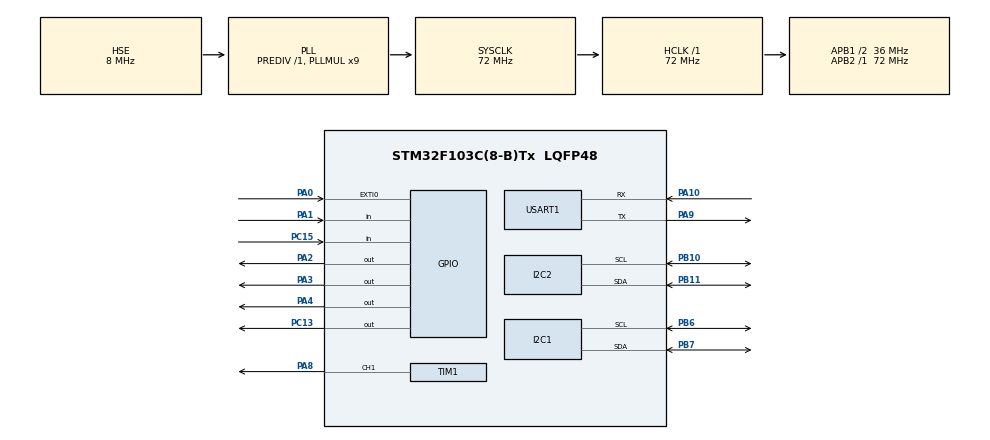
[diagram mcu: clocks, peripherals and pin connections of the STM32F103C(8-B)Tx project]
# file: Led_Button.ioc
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Dma.Request0=USART1_RX
Dma.Request1=USART1_TX
Dma.USART1_RX.0.Direction=DMA_PERIPH_TO_MEMORY
Dma.USART1_RX.0.Instance=DMA1_Channel5
Dma.USART1_RX.0.MemDataAlignment=DMA_MDATAALIGN_BYTE
Dma.USART1_RX.0.MemInc=DMA_MINC_ENABLE
Dma.USART1_RX.0.Mode=DMA_NORMAL
Dma.USART1_RX.0.PeriphDataAlignment=DMA_PDATAALIGN_BYTE
Dma.USART1_RX.0.PeriphInc=DMA_PINC_DISABLE
Dma.USART1_RX.0.Priority=DMA_PRIORITY_LOW
Dma.USART1_TX.1.Direction=DMA_MEMORY_TO_PERIPH
Dma.USART1_TX.1.Instance=DMA1_Channel4
Dma.USART1_TX.1.MemDataAlignment=DMA_MDATAALIGN_BYTE
Dma.USART1_TX.1.MemInc=DMA_MINC_ENABLE
Dma.USART1_TX.1.Mode=DMA_CIRCULAR
Dma.USART1_TX.1.PeriphDataAlignment=DMA_PDATAALIGN_BYTE
Dma.USART1_TX.1.PeriphInc=DMA_PINC_DISABLE
Dma.USART1_TX.1.Priority=DMA_PRIORITY_LOW
I2C1.I2C_Mode=I2C_Fast
I2C2.I2C_Mode=I2C_Fast
Mcu.Family=STM32F1
Mcu.Name=STM32F103C(8-B)Tx
Mcu.Package=LQFP48
NVIC.DMA1_Channel4_IRQn=true\:0\:0\:false\:false\:true\:false\:true\:true
NVIC.DMA1_Channel5_IRQn=true\:0\:0\:false\:false\:true\:false\:true\:true
NVIC.EXTI0_IRQn=true\:0\:0\:false\:false\:true\:true\:true\:true
NVIC.PriorityGroup=NVIC_PRIORITYGROUP_4
NVIC.TIM2_IRQn=true\:0\:0\:false\:false\:true\:true\:true\:true
NVIC.TIM3_IRQn=true\:0\:0\:false\:false\:true\:true\:true\:true
NVIC.USART1_IRQn=true\:0\:0\:false\:false\:true\:true\:true\:true
PA0-WKUP.GPIO_ModeDefaultEXTI=GPIO_MODE_IT_FALLING
PA0-WKUP.Signal=GPXTI0
PA1.Signal=GPIO_Input
PA10.Mode=Asynchronous
PA10.Signal=USART1_RX
PA13.Mode=Serial_Wire
PA13.Signal=SYS_JTMS-SWDIO
PA14.Mode=Serial_Wire
PA14.Signal=SYS_JTCK-SWCLK
PA2.Signal=GPIO_Output
PA3.Signal=GPIO_Output
PA4.GPIO_PuPd=GPIO_PULLUP
PA4.Signal=GPIO_Output
PA8.Signal=S_TIM1_CH1
PA9.Mode=Asynchronous
PA9.Signal=USART1_TX
PB10.Mode=I2C
PB10.Signal=I2C2_SCL
PB11.Mode=I2C
PB11.Signal=I2C2_SDA
PB6.Mode=I2C
PB6.Signal=I2C1_SCL
PB7.Mode=I2C
PB7.Signal=I2C1_SDA
PC13-TAMPER-RTC.Signal=GPIO_Output
PC15-OSC32_OUT.GPIO_PuPd=GPIO_PULLUP
PC15-OSC32_OUT.Signal=GPIO_Input
PD0-OSC_IN.Mode=HSE-External-Oscillator
PD0-OSC_IN.Signal=RCC_OSC_IN
PD1-OSC_OUT.Mode=HSE-External-Oscillator
PD1-OSC_OUT.Signal=RCC_OSC_OUT
ProjectManager.HeapSize=0x200
ProjectManager.StackSize=0x400
ProjectManager.TargetToolchain=MDK-ARM V5
RCC.AHBFreq_Value=72000000
RCC.APB1CLKDivider=RCC_HCLK_DIV2
RCC.APB1Freq_Value=36000000
RCC.APB1TimFreq_Value=72000000
RCC.APB2Freq_Value=72000000
RCC.APB2TimFreq_Value=72000000
RCC.HCLKFreq_Value=72000000
RCC.PLLMUL=RCC_PLL_MUL9
RCC.PLLSourceVirtual=RCC_PLLSOURCE_HSE
RCC.SYSCLKFreq_VALUE=72000000
RCC.SYSCLKSource=RCC_SYSCLKSOURCE_PLLCLK
RCC.USBFreq_Value=72000000
SH.S_TIM1_CH1.0=TIM1_CH1,PWM Generation1 CH1
TIM1.Channel-PWM\ Generation1\ CH1=TIM_CHANNEL_1
TIM2.Period=10000-1
TIM2.Prescaler=72-1
TIM3.Period=60000-1
TIM3.Prescaler=6000-1
USART1.VirtualMode=VM_ASYNC
VP_TIM1_VS_ClockSourceINT.Mode=Internal
VP_TIM2_VS_ClockSourceINT.Mode=Internal
VP_TIM3_VS_ClockSourceINT.Mode=Internal
board=custom

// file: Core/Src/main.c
/* USER CODE BEGIN Header */
/**
  ******************************************************************************
  * @file           : main.c
  * @brief          : Main program body
  ******************************************************************************
  * @attention
  *
  * Copyright (c) 2025 STMicroelectronics.
  * All rights reserved.
  *
  * This software is licensed under terms that can be found in the LICENSE file
  * in the root directory of this software component.
  * If no LICENSE file comes with this software, it is provided AS-IS.
  *
  ******************************************************************************
  */
/* USER CODE END Header */
#include "main.h"

I2C_HandleTypeDef hi2c1;
I2C_HandleTypeDef hi2c2;

TIM_HandleTypeDef htim1;
TIM_HandleTypeDef htim2;
TIM_HandleTypeDef htim3;

UART_HandleTypeDef huart1;
DMA_HandleTypeDef hdma_usart1_rx;
DMA_HandleTypeDef hdma_usart1_tx;

void SystemClock_Config(void);
static void MX_GPIO_Init(void);
static void MX_DMA_Init(void);
static void MX_USART1_UART_Init(void);
static void MX_TIM1_Init(void);
static void MX_TIM2_Init(void);
static void MX_TIM3_Init(void);
static void MX_I2C2_Init(void);
static void MX_I2C1_Init(void);
/* USER CODE BEGIN PFP */
//=============INCLUDE LIBRARY=============//
#include <string.h>
#include <stdio.h>
#include <math.h>
#include <stdlib.h>

//=============DEFINE VARIABLE=============//
#define MCP4725_ADDR (0x60 << 1)

uint8_t RX_Data[17], TX_Data[29], Leech_Motor_Speed [3], LED_Status_Buffer [2], Each_Eeprom_Element[1];
uint8_t UART1_RX_Flag, LED_1_Status_Flag, LED_2_Status_Flag, LED_Status_Tracking_Flag, Store_LED_Status_Flag, Timer3_Delay_Flag, Store_Motor_Speed_Flag, Recover_Data_Flag;
uint8_t Forward_45D_Flag, Forward_90D_Flag, Forward_180D_Flag, Forward_360D_Flag, Motor_Position_Tracking_Flag, Control_Motor_Speed_Flag;
uint8_t Mode_00_Flag, Mode_01_Flag, Mode_02_Flag, Mode_03_Flag, Mode_04_Flag, Mode_05_Flag, Mode_06_Flag;

char *Char_RX_Data, Down_Line[] = "\r \n", RX_Hex_Data[29];
char Pulse_Buffer[13], Label_LED_Status_Buffer[13];

int pre_pulse, pulse, PWM_Duty_Cycle, Label_LED_Status;
int count, i;
int Iden_Control_Motor;

float setpoint = 0, Output_Voltage_Setpoint;
float pre_error, error;
float integral, derivative, duty_cycle_output;
float Kp = 10, Ki = 0.5, Kd = 0.2;
float Delta_t = 0.01;

/* USER CODE END PFP */

/* USER CODE BEGIN 0 */

//=======================================EEPROM=========================================//
//======================================================================================//
//======================================================================================//

void Recover_Data ()
{
	Recover_Data_Flag = 1;

	for(int i = 0, j = 0; i <= 2; i++)
	{
		HAL_I2C_Mem_Read(&hi2c1, 0xA0, i, 2, Each_Eeprom_Element, 1, 100);
		LED_Status_Buffer[j] = Each_Eeprom_Element[0];
		j++;
	}

	if (LED_Status_Buffer[0] == 0)
	{
		HAL_GPIO_WritePin(GPIOC, GPIO_PIN_13, 1);

		Label_LED_Status = 1000;
		int len = sprintf(Label_LED_Status_Buffer, "%d\r\n", Label_LED_Status);
		HAL_UART_Transmit (&huart1, (uint8_t *)Label_LED_Status_Buffer, len, HAL_MAX_DELAY);
	}
	else if (LED_Status_Buffer[0] == 1)
	{
		HAL_GPIO_WritePin(GPIOC, GPIO_PIN_13, 0);

		Label_LED_Status = 1001;
		int len = sprintf(Label_LED_Status_Buffer, "%d\r\n", Label_LED_Status);
		HAL_UART_Transmit (&huart1, (uint8_t *)Label_LED_Status_Buffer, len, HAL_MAX_DELAY);
	}

	if (LED_Status_Buffer[1] == 0)
	{
		HAL_GPIO_WritePin(GPIOA, GPIO_PIN_4, 0);

		Label_LED_Status = 1010;
		int len = sprintf(Label_LED_Status_Buffer, "%d\r\n", Label_LED_Status);
		HAL_UART_Transmit (&huart1, (uint8_t *)Label_LED_Status_Buffer, len, HAL_MAX_DELAY);
	}
	else if (LED_Status_Buffer[1] == 1)
	{
		HAL_GPIO_WritePin(GPIOA, GPIO_PIN_4, 1);

		Label_LED_Status = 1011;
		int len = sprintf(Label_LED_Status_Buffer, "%d\r\n", Label_LED_Status);
		HAL_UART_Transmit (&huart1, (uint8_t *)Label_LED_Status_Buffer, len, HAL_MAX_DELAY);
	}
}

//========================================DAC===========================================//
//======================================================================================//
//======================================================================================//

void MCP4725_SetVoltage(int Output_Voltage_Setpoint)
{
	uint8_t Output_Voltage_Buffer[3];

  Output_Voltage_Buffer[0] = 0x40;
  Output_Voltage_Buffer[1] = (Output_Voltage_Setpoint>> 4) & 0xFF;
  Output_Voltage_Buffer[2] = (Output_Voltage_Setpoint& 0x0F) << 4;

  HAL_I2C_Master_Transmit(&hi2c2, MCP4725_ADDR, Output_Voltage_Buffer, 3, HAL_MAX_DELAY);
}

void Change_Output_Voltage ()
{
	if (strncmp(Char_RX_Data, "00060000011", sizeof(RX_Data)) == 0)
	{
		Mode_06_Flag = 0;
	}

	Output_Voltage_Setpoint = (RX_Data[6] - '0') + (RX_Data[7] - '0') / 10.0;
	MCP4725_SetVoltage ((Output_Voltage_Setpoint * 4095) / 3);
}

//========================LED STATUS & MOTOR POSITION TRACKING==========================//
//======================================================================================//
//======================================================================================//

void Active_Inactive_Status_Tracking ()
{
	Timer3_Delay_Flag = 0;
	count ++;

	if (count == 1)
	{
		setpoint = 0;
	}

	if (count == 2)
	{
		setpoint = 50;
	}

	if (count == 3)
	{
		setpoint = 100;
	}

	if (count == 4)
	{
		setpoint = 150;
		count = 0;
	}
}

//=====================================DRAW GRAPH=======================================//
//======================================================================================//
//======================================================================================//

void Pulse_Transmit_Via_Com ()
{
	int len = sprintf(Pulse_Buffer, "%d\r\n",pulse);
	HAL_UART_Transmit (&huart1, (uint8_t *)Pulse_Buffer, len, HAL_MAX_DELAY);
	HAL_Delay(5);
}

//====================================CONTROL MOTOR=====================================//
//======================================================================================//
//======================================================================================//

//=============CHANGE MOTOR POSITION=============//
void Change_Motor_Position ()
{
	Mode_01_Flag = 0;

	if (Iden_Control_Motor % 2 == 1)
	{
		//FORWARD 45 DEG//
		if (Forward_45D_Flag == 1)
		{
			setpoint = 224/8;
			Kp = 10;
			Ki = 0.5;
			Kd = 0.1;

			Forward_45D_Flag = 0;
		}

		//FORWARD 90 DEG//
		if (Forward_90D_Flag == 1)
		{
			setpoint = 224/4;
			Kp = 10;
			Ki = 0.5;
			Kd = 0.1;

			Forward_90D_Flag = 0;
}

		//FORWARD 180 DEG//
		if (Forward_180D_Flag == 1)
		{
			setpoint = 224/2;
			Kp = 20;
			Ki = 0.5;
			Kd = 0.1;

			Forward_180D_Flag = 0;
		}

		//FORWARD 360 DEG//
		if (Forward_360D_Flag == 1)
		{
			setpoint = 224/1;
			Kp = 8;
			Ki = 6;
			Kd = 0.4;

			Forward_360D_Flag = 0;
		}
	}
}

//=============GENERATE PWM SIGNAL BY TIMER 1=============//

void Generate_PWM (TIM_HandleTypeDef *htim, uint32_t Channel, float Duty_Cycle)
{
	Duty_Cycle = Duty_Cycle / 100 * htim->Instance->ARR;
	__HAL_TIM_SET_COMPARE(&htim1, Channel, (uint16_t)Duty_Cycle);
}

//=============CONTROL POSITION=============//

void Control_Forward ()
{
	HAL_GPIO_WritePin(GPIOA, GPIO_PIN_2, 0);
	HAL_GPIO_WritePin(GPIOA, GPIO_PIN_3, 1);
	HAL_GPIO_WritePin(GPIOA, GPIO_PIN_8, 1);
}

void Control_Reverse ()
{
	HAL_GPIO_WritePin(GPIOA, GPIO_PIN_2, 1);
	HAL_GPIO_WritePin(GPIOA, GPIO_PIN_3, 0);
	HAL_GPIO_WritePin(GPIOA, GPIO_PIN_8, 1);
}

void Control_Stop ()
{
	HAL_GPIO_WritePin(GPIOA, GPIO_PIN_2, 0);
	HAL_GPIO_WritePin(GPIOA, GPIO_PIN_3, 0);
	HAL_GPIO_WritePin(GPIOA, GPIO_PIN_8, 0);
}

void Control_Position ()
{
	if (duty_cycle_output > 0)
	{
		Control_Forward();
		Generate_PWM(&htim1, TIM_CHANNEL_1, duty_cycle_output);
	}

	if (duty_cycle_output < 0)
	{
		Control_Reverse();
		Generate_PWM(&htim1, TIM_CHANNEL_1, - duty_cycle_output);
	}

	if (duty_cycle_output == 0)
	{
		Control_Stop();
		Generate_PWM(&htim1, TIM_CHANNEL_1, duty_cycle_output);
	}
}

//=============CONTROL MOTOR SPEED=============//

void Control_Motor_Speed ()
{
	Mode_04_Flag = 0;

	if (Control_Motor_Speed_Flag == 1)
	{
		HAL_TIM_Base_Stop_IT (&htim2);	//Disable encoder timer2 response interupt avoid PID conflict
		memcpy(Leech_Motor_Speed, &RX_Data[5], 3);
		HAL_TIM_PWM_Start(&htim1,TIM_CHANNEL_1);

		Control_Forward ();
		PWM_Duty_Cycle = atoi((char*)Leech_Motor_Speed);
		Generate_PWM (&htim1, TIM_CHANNEL_1, PWM_Duty_Cycle);
	}
	else if (Control_Motor_Speed_Flag == 0)
	{
		HAL_TIM_Base_Start_IT (&htim2);
		Generate_PWM (&htim1, TIM_CHANNEL_1, 0);
		pulse = 0;
	}
}

//=============ENCODER PULSE COUNTING=============//

void HAL_GPIO_EXTI_Callback(uint16_t GPIO_Pin)
{
	if (HAL_GPIO_ReadPin(GPIOA, GPIO_PIN_1) == 0)
	{
		pulse++;
	}
	else
	{
		pulse--;
	}
}

//=============PID CACULATION & ACTIVE TIMER INTERUPT=============//

void HAL_TIM_PeriodElapsedCallback(TIM_HandleTypeDef *htim)
{
	if (htim == &htim2)
	{
		error = setpoint - pulse;
		integral = integral + (error * Delta_t);
		derivative = (error - pre_error) / Delta_t;
		duty_cycle_output = 	(Kp * error) + (Ki * integral);

		if (duty_cycle_output > 100)
		{
			duty_cycle_output = 100;
		}

		if (duty_cycle_output < -100)
		{
			duty_cycle_output = -100;
		}

		pre_error = error;

		Control_Position();
	}

	if (htim == &htim3)
	{
		Timer3_Delay_Flag = 1;
	}
}

//=================================UART COMMUNICATTION==================================//
//======================================================================================//
//======================================================================================//

//=============UART RECEIVE CHECKING=============//

void HAL_UARTEx_RxEventCallback (UART_HandleTypeDef *huart, uint16_t Size)
{
	if (huart->Instance == USART1)
	{
			UART1_RX_Flag = 1;
	}
}

//=============UART RECEIVE PROCESSING=============//

void UART1_RX_Processing ()
{
	UART1_RX_Flag = 0;

	HAL_UARTEx_ReceiveToIdle_DMA (&huart1, RX_Data, sizeof(RX_Data));

	Char_RX_Data = (char*)RX_Data;

	//MODE 00 - CONTROL LED//
	if ((strncmp(Char_RX_Data, "0000", 4) == 0) && (strncmp(&Char_RX_Data[9], "1", 1) == 0))
	{
		Mode_00_Flag = 1;

		if (strncmp(Char_RX_Data, "00000000011", sizeof(RX_Data)) == 0)
		{
			LED_1_Status_Flag = 0;
		}
		else if (strncmp(Char_RX_Data, "00000001011", sizeof(RX_Data)) == 0)
		{
			LED_1_Status_Flag = 1;
		}

		if (strncmp(Char_RX_Data, "00000010011", sizeof(RX_Data)) == 0)
		{
			LED_2_Status_Flag = 0;
		}
		else if (strncmp(Char_RX_Data, "00000011011", sizeof(RX_Data)) == 0)
		{
			LED_2_Status_Flag = 1;
		}
	}

	//MODE 01 - CONTROL MOTOR POSITION//
	if ((strncmp(Char_RX_Data, "0001", 4) == 0) && (strncmp(&Char_RX_Data[9], "1", 1) == 0))
	{
		Mode_01_Flag = 1;

		if (strncmp(Char_RX_Data, "0001002D011", sizeof(RX_Data)) == 0)
		{
			Forward_45D_Flag = 1;
		}

		if (strncmp(Char_RX_Data, "0001005A011", sizeof(RX_Data)) == 0)
		{
			Forward_90D_Flag = 1;
		}

		if (strncmp(Char_RX_Data, "000100B4011", sizeof(RX_Data)) == 0)
		{
			Forward_180D_Flag = 1;
		}

		if (strncmp(Char_RX_Data, "00010168011", sizeof(RX_Data)) == 0)
		{
			Forward_360D_Flag = 1;
		}
	}

	//MODE 02 - ACTIVE/INACTIVE PULSE TRANSFERING//
	if ((strncmp(Char_RX_Data, "0002", 4) == 0) && (strncmp(&Char_RX_Data[9], "1", 1) == 0))
	{
		if (strncmp(Char_RX_Data, "00020000011", sizeof(RX_Data)) == 0)
		{
			Mode_02_Flag = 0;
		}

		if (strncmp(Char_RX_Data, "00020001011", sizeof(RX_Data)) == 0)
		{
			Mode_02_Flag = 1;
		}
	}

	//MODE 03 - ACTIVE/INACTIVE STATUS TRACKING//
	if ((strncmp(Char_RX_Data, "0003", 4) == 0) && (strncmp(&Char_RX_Data[9], "1", 1) == 0))
	{
		Mode_03_Flag = 1;

		if (strncmp(Char_RX_Data, "00030000011", sizeof(RX_Data)) == 0)
		{
			LED_Status_Tracking_Flag = 0;
		}

		else if (strncmp(Char_RX_Data, "00030001011", sizeof(RX_Data)) == 0)
		{
			LED_Status_Tracking_Flag = 1;
		}

		if (strncmp(Char_RX_Data, "00030010011", sizeof(RX_Data)) == 0)
		{
			Motor_Position_Tracking_Flag = 0;
		}

		else if (strncmp(Char_RX_Data, "00030011011", sizeof(RX_Data)) == 0)
		{
			Motor_Position_Tracking_Flag = 1;
		}
	}

	//MODE 04 - CONTROL MOTOR SPEED//
	if ((strncmp(Char_RX_Data, "0004", 4) == 0) && (strncmp(&Char_RX_Data[9], "1", 1) == 0))
	{
		Mode_04_Flag = 1;

		if (memcmp(&Char_RX_Data[4], "0", 1) == 0)
		{
			Control_Motor_Speed_Flag = 1;
		}
		else if (memcmp(&Char_RX_Data[4], "FFFF", 4) == 0)
		{
			Control_Motor_Speed_Flag = 0;
		}
	}

	//MODE 05 - STORE LED STATUS & MOTOR SPEED//
	if ((strncmp(Char_RX_Data, "0005", 4) == 0) && (strncmp(&Char_RX_Data[9], "1", 1) == 0))
	{
		Mode_05_Flag = 1;

		if (strncmp(Char_RX_Data, "00050001011", sizeof(RX_Data)) == 0)
		{
			Store_LED_Status_Flag = 1;
		}

		if (strncmp(Char_RX_Data, "00050011011", sizeof(RX_Data)) == 0)
		{
			Store_Motor_Speed_Flag = 1;
		}
	}
	//MODE 06 - DAC//
	if ((strncmp(Char_RX_Data, "0006", 4) == 0) && (strncmp(&Char_RX_Data[9], "1", 1) == 0))
	{
		if (memcmp(&Char_RX_Data[4], "00", 2) == 0)
		{
			Mode_06_Flag = 1;
		}
	}
}

//=============EEPROM PROCESSING=============//

void EEPROM_Processing ()
{
	Mode_05_Flag = 0;

	if (Store_LED_Status_Flag == 1)
	{
		for(int i = 0; i <= 2; i++)
	{
		HAL_I2C_Mem_Write(&hi2c1, 0xA0, i, 2, &LED_Status_Buffer[i], 1, 100);
		HAL_Delay(5);
	}
	}
}

//=====================================CONTROL LED======================================//
//======================================================================================//
//======================================================================================//

void LED_Control ()
{
	Mode_00_Flag = 0;

	if (LED_1_Status_Flag == 0)
	{
		HAL_GPIO_WritePin(GPIOC, GPIO_PIN_13, 1);
		LED_Status_Buffer [0] = 0;
	}
	else if (LED_1_Status_Flag == 1)
	{
		HAL_GPIO_WritePin(GPIOC, GPIO_PIN_13, 0);
		LED_Status_Buffer [0] = 1;
	}

	if (LED_2_Status_Flag == 0)
	{
		HAL_GPIO_WritePin(GPIOA, GPIO_PIN_4, 0);
		LED_Status_Buffer [1] = 0;
	}
	else if (LED_2_Status_Flag == 1)
	{
		HAL_GPIO_WritePin(GPIOA, GPIO_PIN_4, 1);
		LED_Status_Buffer [1] = 1;
	}
}

/* USER CODE END 0 */

int main(void)
{

  /* MCU Configuration--------------------------------------------------------*/

  /* Reset of all peripherals, Initializes the Flash interface and the Systick. */
  HAL_Init();

  /* Configure the system clock */
  SystemClock_Config();

  /* Initialize all configured peripherals */
  MX_GPIO_Init();
  MX_DMA_Init();
  MX_USART1_UART_Init();
  MX_TIM1_Init();
  MX_TIM2_Init();
  MX_TIM3_Init();
  MX_I2C2_Init();
  MX_I2C1_Init();
  /* USER CODE BEGIN 2 */
	//=============ACTIVE UART RECEIVING WITH IDLE AND DMA MODE=============//
	HAL_UARTEx_ReceiveToIdle_DMA (&huart1, RX_Data, sizeof(RX_Data));

	//=============ACTIVE PWM MODE VIA TIMER=============//
	HAL_TIM_PWM_Start (&htim1, TIM_CHANNEL_1);

	//=============ACTIVE TIMER INTERUPT=============//
	HAL_TIM_Base_Start_IT (&htim2);
	HAL_TIM_Base_Start_IT (&htim3);

	//HAL_TIM_Base_Start_IT(&htim1);

  /* USER CODE END 2 */

  /* Infinite loop */
  /* USER CODE BEGIN WHILE */

  while (1)
  {
		uint8_t Opto_Digital_Input = HAL_GPIO_ReadPin (GPIOC, GPIO_PIN_15);
    /* USER CODE END WHILE */

    /* USER CODE BEGIN 3 */
		if (UART1_RX_Flag == 1)
		{
			UART1_RX_Flag = 0;
			UART1_RX_Processing ();
		}

		if (Mode_00_Flag == 1)
		{
			LED_Control ();
		}

		if (Mode_01_Flag == 1)
		{
			Iden_Control_Motor++;
			Change_Motor_Position ();
		}

		if (Mode_02_Flag == 1)
		{
			Pulse_Transmit_Via_Com ();
		}

		if ((Mode_03_Flag == 1) && (Timer3_Delay_Flag == 1))
		{
			Active_Inactive_Status_Tracking ();
		}

		if (Mode_04_Flag == 1)
		{
			Control_Motor_Speed ();
		}

		if (Mode_05_Flag == 1)
		{
			EEPROM_Processing ();
		}

		if (Recover_Data_Flag == 0)
		{
			Recover_Data ();
		}

		if (Mode_06_Flag == 1)
		{
			Change_Output_Voltage ();
		}
	}
  /* USER CODE END 3 */
}

void SystemClock_Config(void)
{
  RCC_OscInitTypeDef RCC_OscInitStruct = {0};
  RCC_ClkInitTypeDef RCC_ClkInitStruct = {0};

  /** Initializes the RCC Oscillators according to the specified parameters
  * in the RCC_OscInitTypeDef structure.
  */
  RCC_OscInitStruct.OscillatorType = RCC_OSCILLATORTYPE_HSE;
  RCC_OscInitStruct.HSEState = RCC_HSE_ON;
  RCC_OscInitStruct.HSEPredivValue = RCC_HSE_PREDIV_DIV1;
  RCC_OscInitStruct.HSIState = RCC_HSI_ON;
  RCC_OscInitStruct.PLL.PLLState = RCC_PLL_ON;
  RCC_OscInitStruct.PLL.PLLSource = RCC_PLLSOURCE_HSE;
  RCC_OscInitStruct.PLL.PLLMUL = RCC_PLL_MUL9;
  if (HAL_RCC_OscConfig(&RCC_OscInitStruct) != HAL_OK)
  {
    Error_Handler();
  }

  /** Initializes the CPU, AHB and APB buses clocks
  */
  RCC_ClkInitStruct.ClockType = RCC_CLOCKTYPE_HCLK|RCC_CLOCKTYPE_SYSCLK
                              |RCC_CLOCKTYPE_PCLK1|RCC_CLOCKTYPE_PCLK2;
  RCC_ClkInitStruct.SYSCLKSource = RCC_SYSCLKSOURCE_PLLCLK;
  RCC_ClkInitStruct.AHBCLKDivider = RCC_SYSCLK_DIV1;
  RCC_ClkInitStruct.APB1CLKDivider = RCC_HCLK_DIV2;
  RCC_ClkInitStruct.APB2CLKDivider = RCC_HCLK_DIV1;

  if (HAL_RCC_ClockConfig(&RCC_ClkInitStruct, FLASH_LATENCY_2) != HAL_OK)
  {
    Error_Handler();
  }
}

static void MX_I2C1_Init(void)
{

  hi2c1.Instance = I2C1;
  hi2c1.Init.ClockSpeed = 400000;
  hi2c1.Init.DutyCycle = I2C_DUTYCYCLE_2;
  hi2c1.Init.OwnAddress1 = 0;
  hi2c1.Init.AddressingMode = I2C_ADDRESSINGMODE_7BIT;
  hi2c1.Init.DualAddressMode = I2C_DUALADDRESS_DISABLE;
  hi2c1.Init.OwnAddress2 = 0;
  hi2c1.Init.GeneralCallMode = I2C_GENERALCALL_DISABLE;
  hi2c1.Init.NoStretchMode = I2C_NOSTRETCH_DISABLE;
  if (HAL_I2C_Init(&hi2c1) != HAL_OK)
  {
    Error_Handler();
  }

}

static void MX_I2C2_Init(void)
{

  hi2c2.Instance = I2C2;
  hi2c2.Init.ClockSpeed = 400000;
  hi2c2.Init.DutyCycle = I2C_DUTYCYCLE_2;
  hi2c2.Init.OwnAddress1 = 0;
  hi2c2.Init.AddressingMode = I2C_ADDRESSINGMODE_7BIT;
  hi2c2.Init.DualAddressMode = I2C_DUALADDRESS_DISABLE;
  hi2c2.Init.OwnAddress2 = 0;
  hi2c2.Init.GeneralCallMode = I2C_GENERALCALL_DISABLE;
  hi2c2.Init.NoStretchMode = I2C_NOSTRETCH_DISABLE;
  if (HAL_I2C_Init(&hi2c2) != HAL_OK)
  {
    Error_Handler();
  }

}

static void MX_TIM1_Init(void)
{

  TIM_ClockConfigTypeDef sClockSourceConfig = {0};
  TIM_MasterConfigTypeDef sMasterConfig = {0};
  TIM_OC_InitTypeDef sConfigOC = {0};
  TIM_BreakDeadTimeConfigTypeDef sBreakDeadTimeConfig = {0};

  htim1.Instance = TIM1;
  htim1.Init.Prescaler = 0;
  htim1.Init.CounterMode = TIM_COUNTERMODE_UP;
  htim1.Init.Period = 65535;
  htim1.Init.ClockDivision = TIM_CLOCKDIVISION_DIV1;
  htim1.Init.RepetitionCounter = 0;
  htim1.Init.AutoReloadPreload = TIM_AUTORELOAD_PRELOAD_DISABLE;
  if (HAL_TIM_Base_Init(&htim1) != HAL_OK)
  {
    Error_Handler();
  }
  sClockSourceConfig.ClockSource = TIM_CLOCKSOURCE_INTERNAL;
  if (HAL_TIM_ConfigClockSource(&htim1, &sClockSourceConfig) != HAL_OK)
  {
    Error_Handler();
  }
  if (HAL_TIM_PWM_Init(&htim1) != HAL_OK)
  {
    Error_Handler();
  }
  sMasterConfig.MasterOutputTrigger = TIM_TRGO_RESET;
  sMasterConfig.MasterSlaveMode = TIM_MASTERSLAVEMODE_DISABLE;
  if (HAL_TIMEx_MasterConfigSynchronization(&htim1, &sMasterConfig) != HAL_OK)
  {
    Error_Handler();
  }
  sConfigOC.OCMode = TIM_OCMODE_PWM1;
  sConfigOC.Pulse = 0;
  sConfigOC.OCPolarity = TIM_OCPOLARITY_HIGH;
  sConfigOC.OCNPolarity = TIM_OCNPOLARITY_HIGH;
  sConfigOC.OCFastMode = TIM_OCFAST_DISABLE;
  sConfigOC.OCIdleState = TIM_OCIDLESTATE_RESET;
  sConfigOC.OCNIdleState = TIM_OCNIDLESTATE_RESET;
  if (HAL_TIM_PWM_ConfigChannel(&htim1, &sConfigOC, TIM_CHANNEL_1) != HAL_OK)
  {
    Error_Handler();
  }
  sBreakDeadTimeConfig.OffStateRunMode = TIM_OSSR_DISABLE;
  sBreakDeadTimeConfig.OffStateIDLEMode = TIM_OSSI_DISABLE;
  sBreakDeadTimeConfig.LockLevel = TIM_LOCKLEVEL_OFF;
  sBreakDeadTimeConfig.DeadTime = 0;
  sBreakDeadTimeConfig.BreakState = TIM_BREAK_DISABLE;
  sBreakDeadTimeConfig.BreakPolarity = TIM_BREAKPOLARITY_HIGH;
  sBreakDeadTimeConfig.AutomaticOutput = TIM_AUTOMATICOUTPUT_DISABLE;
  if (HAL_TIMEx_ConfigBreakDeadTime(&htim1, &sBreakDeadTimeConfig) != HAL_OK)
  {
    Error_Handler();
  }
  HAL_TIM_MspPostInit(&htim1);

}

static void MX_TIM2_Init(void)
{

  TIM_ClockConfigTypeDef sClockSourceConfig = {0};
  TIM_MasterConfigTypeDef sMasterConfig = {0};

  htim2.Instance = TIM2;
  htim2.Init.Prescaler = 72-1;
  htim2.Init.CounterMode = TIM_COUNTERMODE_UP;
  htim2.Init.Period = 10000-1;
  htim2.Init.ClockDivision = TIM_CLOCKDIVISION_DIV1;
  htim2.Init.AutoReloadPreload = TIM_AUTORELOAD_PRELOAD_DISABLE;
  if (HAL_TIM_Base_Init(&htim2) != HAL_OK)
  {
    Error_Handler();
  }
  sClockSourceConfig.ClockSource = TIM_CLOCKSOURCE_INTERNAL;
  if (HAL_TIM_ConfigClockSource(&htim2, &sClockSourceConfig) != HAL_OK)
  {
    Error_Handler();
  }
  sMasterConfig.MasterOutputTrigger = TIM_TRGO_RESET;
  sMasterConfig.MasterSlaveMode = TIM_MASTERSLAVEMODE_DISABLE;
  if (HAL_TIMEx_MasterConfigSynchronization(&htim2, &sMasterConfig) != HAL_OK)
  {
    Error_Handler();
  }

}

static void MX_TIM3_Init(void)
{

  TIM_ClockConfigTypeDef sClockSourceConfig = {0};
  TIM_MasterConfigTypeDef sMasterConfig = {0};

  htim3.Instance = TIM3;
  htim3.Init.Prescaler = 6000-1;
  htim3.Init.CounterMode = TIM_COUNTERMODE_UP;
  htim3.Init.Period = 60000-1;
  htim3.Init.ClockDivision = TIM_CLOCKDIVISION_DIV1;
  htim3.Init.AutoReloadPreload = TIM_AUTORELOAD_PRELOAD_DISABLE;
  if (HAL_TIM_Base_Init(&htim3) != HAL_OK)
  {
    Error_Handler();
  }
  sClockSourceConfig.ClockSource = TIM_CLOCKSOURCE_INTERNAL;
  if (HAL_TIM_ConfigClockSource(&htim3, &sClockSourceConfig) != HAL_OK)
  {
    Error_Handler();
  }
  sMasterConfig.MasterOutputTrigger = TIM_TRGO_RESET;
  sMasterConfig.MasterSlaveMode = TIM_MASTERSLAVEMODE_DISABLE;
  if (HAL_TIMEx_MasterConfigSynchronization(&htim3, &sMasterConfig) != HAL_OK)
  {
    Error_Handler();
  }

}

static void MX_USART1_UART_Init(void)
{

  huart1.Instance = USART1;
  huart1.Init.BaudRate = 115200;
  huart1.Init.WordLength = UART_WORDLENGTH_8B;
  huart1.Init.StopBits = UART_STOPBITS_1;
  huart1.Init.Parity = UART_PARITY_NONE;
  huart1.Init.Mode = UART_MODE_TX_RX;
  huart1.Init.HwFlowCtl = UART_HWCONTROL_NONE;
  huart1.Init.OverSampling = UART_OVERSAMPLING_16;
  if (HAL_UART_Init(&huart1) != HAL_OK)
  {
    Error_Handler();
  }

}

static void MX_DMA_Init(void)
{

  /* DMA controller clock enable */
  __HAL_RCC_DMA1_CLK_ENABLE();

  /* DMA interrupt init */
  /* DMA1_Channel4_IRQn interrupt configuration */
  HAL_NVIC_SetPriority(DMA1_Channel4_IRQn, 0, 0);
  HAL_NVIC_EnableIRQ(DMA1_Channel4_IRQn);
  /* DMA1_Channel5_IRQn interrupt configuration */
  HAL_NVIC_SetPriority(DMA1_Channel5_IRQn, 0, 0);
  HAL_NVIC_EnableIRQ(DMA1_Channel5_IRQn);

}

static void MX_GPIO_Init(void)
{
  GPIO_InitTypeDef GPIO_InitStruct = {0};

  /* GPIO Ports Clock Enable */
  __HAL_RCC_GPIOC_CLK_ENABLE();
  __HAL_RCC_GPIOD_CLK_ENABLE();
  __HAL_RCC_GPIOA_CLK_ENABLE();
  __HAL_RCC_GPIOB_CLK_ENABLE();

  /*Configure GPIO pin Output Level */
  HAL_GPIO_WritePin(GPIOC, GPIO_PIN_13, GPIO_PIN_RESET);

  /*Configure GPIO pin Output Level */
  HAL_GPIO_WritePin(GPIOA, GPIO_PIN_2|GPIO_PIN_3|GPIO_PIN_4, GPIO_PIN_RESET);

  /*Configure GPIO pin : PC13 */
  GPIO_InitStruct.Pin = GPIO_PIN_13;
  GPIO_InitStruct.Mode = GPIO_MODE_OUTPUT_PP;
  GPIO_InitStruct.Pull = GPIO_NOPULL;
  GPIO_InitStruct.Speed = GPIO_SPEED_FREQ_LOW;
  HAL_GPIO_Init(GPIOC, &GPIO_InitStruct);

  /*Configure GPIO pin : PC15 */
  GPIO_InitStruct.Pin = GPIO_PIN_15;
  GPIO_InitStruct.Mode = GPIO_MODE_INPUT;
  GPIO_InitStruct.Pull = GPIO_PULLUP;
  HAL_GPIO_Init(GPIOC, &GPIO_InitStruct);

  /*Configure GPIO pin : PA0 */
  GPIO_InitStruct.Pin = GPIO_PIN_0;
  GPIO_InitStruct.Mode = GPIO_MODE_IT_FALLING;
  GPIO_InitStruct.Pull = GPIO_NOPULL;
  HAL_GPIO_Init(GPIOA, &GPIO_InitStruct);

  /*Configure GPIO pin : PA1 */
  GPIO_InitStruct.Pin = GPIO_PIN_1;
  GPIO_InitStruct.Mode = GPIO_MODE_INPUT;
  GPIO_InitStruct.Pull = GPIO_NOPULL;
  HAL_GPIO_Init(GPIOA, &GPIO_InitStruct);

  /*Configure GPIO pins : PA2 PA3 */
  GPIO_InitStruct.Pin = GPIO_PIN_2|GPIO_PIN_3;
  GPIO_InitStruct.Mode = GPIO_MODE_OUTPUT_PP;
  GPIO_InitStruct.Pull = GPIO_NOPULL;
  GPIO_InitStruct.Speed = GPIO_SPEED_FREQ_LOW;
  HAL_GPIO_Init(GPIOA, &GPIO_InitStruct);

  /*Configure GPIO pin : PA4 */
  GPIO_InitStruct.Pin = GPIO_PIN_4;
  GPIO_InitStruct.Mode = GPIO_MODE_OUTPUT_PP;
  GPIO_InitStruct.Pull = GPIO_PULLUP;
  GPIO_InitStruct.Speed = GPIO_SPEED_FREQ_LOW;
  HAL_GPIO_Init(GPIOA, &GPIO_InitStruct);

  /* EXTI interrupt init*/
  HAL_NVIC_SetPriority(EXTI0_IRQn, 0, 0);
  HAL_NVIC_EnableIRQ(EXTI0_IRQn);

}

void Error_Handler(void)
{
  __disable_irq();
  while (1)
  {
  }
}
